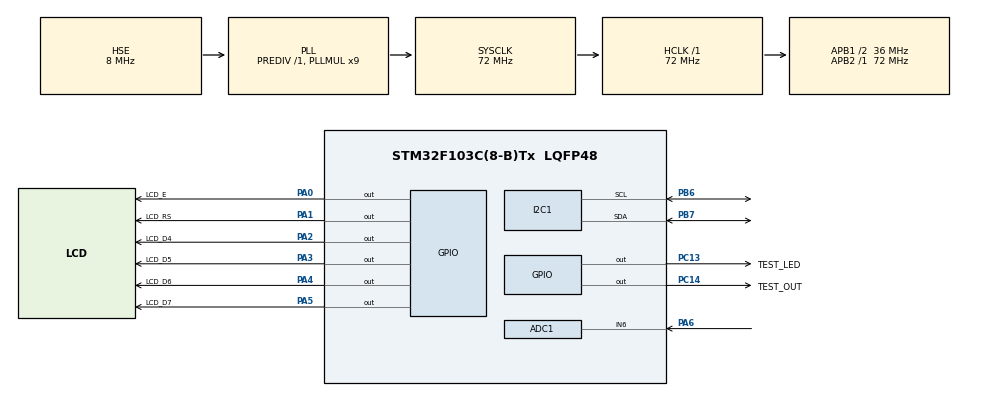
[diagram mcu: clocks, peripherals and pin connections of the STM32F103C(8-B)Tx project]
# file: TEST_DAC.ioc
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ADC1.Channel-1\#ChannelRegularConversion=ADC_CHANNEL_6
ADC1.NbrOfConversionFlag=1
ADC1.Rank-1\#ChannelRegularConversion=1
ADC1.SamplingTime-1\#ChannelRegularConversion=ADC_SAMPLETIME_1CYCLE_5
ADC1.master=1
Dma.I2C1_RX.1.Direction=DMA_PERIPH_TO_MEMORY
Dma.I2C1_RX.1.Instance=DMA1_Channel7
Dma.I2C1_RX.1.MemDataAlignment=DMA_MDATAALIGN_BYTE
Dma.I2C1_RX.1.MemInc=DMA_MINC_ENABLE
Dma.I2C1_RX.1.Mode=DMA_NORMAL
Dma.I2C1_RX.1.PeriphDataAlignment=DMA_PDATAALIGN_BYTE
Dma.I2C1_RX.1.PeriphInc=DMA_PINC_DISABLE
Dma.I2C1_RX.1.Priority=DMA_PRIORITY_LOW
Dma.I2C1_TX.0.Direction=DMA_MEMORY_TO_PERIPH
Dma.I2C1_TX.0.Instance=DMA1_Channel6
Dma.I2C1_TX.0.MemDataAlignment=DMA_MDATAALIGN_BYTE
Dma.I2C1_TX.0.MemInc=DMA_MINC_ENABLE
Dma.I2C1_TX.0.Mode=DMA_NORMAL
Dma.I2C1_TX.0.PeriphDataAlignment=DMA_PDATAALIGN_BYTE
Dma.I2C1_TX.0.PeriphInc=DMA_PINC_DISABLE
Dma.I2C1_TX.0.Priority=DMA_PRIORITY_LOW
Dma.Request0=I2C1_TX
Dma.Request1=I2C1_RX
FREERTOS.Tasks01=defaultTask,0,128,StartDefaultTask,Default,NULL,Dynamic,NULL,NULL;ButtonsTask,0,128,StartButtonsTask,Default,NULL,Dynamic,NULL,NULL
I2C1.I2C_Mode=I2C_Fast
Mcu.Family=STM32F1
Mcu.Name=STM32F103C(8-B)Tx
Mcu.Package=LQFP48
NVIC.ADC1_2_IRQn=true\:5\:0\:false\:false\:true\:true\:true\:true
NVIC.DMA1_Channel6_IRQn=true\:5\:0\:false\:false\:true\:true\:false\:true
NVIC.DMA1_Channel7_IRQn=true\:5\:0\:false\:false\:true\:true\:false\:true
NVIC.I2C1_EV_IRQn=true\:5\:0\:false\:false\:true\:true\:true\:true
NVIC.PriorityGroup=NVIC_PRIORITYGROUP_4
NVIC.TIM3_IRQn=true\:5\:0\:false\:false\:true\:true\:true\:true
NVIC.TIM4_IRQn=true\:0\:0\:false\:false\:true\:false\:false\:true
NVIC.TimeBase=TIM4_IRQn
NVIC.TimeBaseIP=TIM4
PA0-WKUP.GPIO_Label=LCD_E
PA0-WKUP.GPIO_ModeDefaultOutputPP=GPIO_MODE_OUTPUT_PP
PA0-WKUP.Signal=GPIO_Output
PA1.GPIO_Label=LCD_RS
PA1.Signal=GPIO_Output
PA13.Mode=Trace_Asynchronous_SW
PA13.Signal=SYS_JTMS-SWDIO
PA14.Mode=Trace_Asynchronous_SW
PA14.Signal=SYS_JTCK-SWCLK
PA2.GPIO_Label=LCD_D4
PA2.Signal=GPIO_Output
PA3.GPIO_Label=LCD_D5
PA3.Signal=GPIO_Output
PA4.GPIO_Label=LCD_D6
PA4.Signal=GPIO_Output
PA5.GPIO_Label=LCD_D7
PA5.Signal=GPIO_Output
PA6.Signal=ADCx_IN6
PB3.Mode=Trace_Asynchronous_SW
PB3.Signal=SYS_JTDO-TRACESWO
PB6.Mode=I2C
PB6.Signal=I2C1_SCL
PB7.Mode=I2C
PB7.Signal=I2C1_SDA
PC13-TAMPER-RTC.GPIO_Label=TEST_LED
PC13-TAMPER-RTC.Signal=GPIO_Output
PC14-OSC32_IN.GPIO_Label=TEST_OUT
PC14-OSC32_IN.GPIO_Speed=GPIO_SPEED_FREQ_HIGH
PC14-OSC32_IN.Signal=GPIO_Output
PD0-OSC_IN.Mode=HSE-External-Oscillator
PD0-OSC_IN.Signal=RCC_OSC_IN
PD1-OSC_OUT.Mode=HSE-External-Oscillator
PD1-OSC_OUT.Signal=RCC_OSC_OUT
ProjectManager.HeapSize=0x200
ProjectManager.StackSize=0x400
ProjectManager.TargetToolchain=MDK-ARM V5
RCC.ADCPresc=RCC_ADCPCLK2_DIV6
RCC.AHBFreq_Value=72000000
RCC.APB1CLKDivider=RCC_HCLK_DIV2
RCC.APB1Freq_Value=36000000
RCC.APB1TimFreq_Value=72000000
RCC.APB2Freq_Value=72000000
RCC.APB2TimFreq_Value=72000000
RCC.HCLKFreq_Value=72000000
RCC.PLLMUL=RCC_PLL_MUL9
RCC.PLLSourceVirtual=RCC_PLLSOURCE_HSE
RCC.SYSCLKFreq_VALUE=72000000
RCC.SYSCLKSource=RCC_SYSCLKSOURCE_PLLCLK
RCC.USBFreq_Value=72000000
SH.ADCx_IN6.0=ADC1_IN6,IN6
TIM3.Period=38
TIM3.Prescaler=71
VP_FREERTOS_VS_CMSIS_V1.Mode=CMSIS_V1
VP_SYS_VS_tim4.Mode=TIM4
VP_TIM3_VS_ClockSourceINT.Mode=Internal
board=custom

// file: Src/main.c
/* USER CODE BEGIN Header */
/**
  ******************************************************************************
  * @file           : main.c
  * @brief          : Main program body
  ******************************************************************************
  * @attention
  *
  * <h2><center>&copy; Copyright (c) 2019 STMicroelectronics.
  * All rights reserved.</center></h2>
  *
  * This software component is licensed by ST under Ultimate Liberty license
  * SLA0044, the "License"; You may not use this file except in compliance with
  * the License. You may obtain a copy of the License at:
  *                             www.st.com/SLA0044
  *
  ******************************************************************************
  */
/* USER CODE END Header */

#include "main.h"
#include "cmsis_os.h"

/* USER CODE BEGIN Includes */
#include "stdbool.h"
#include "hd44780.h"
/* USER CODE END Includes */

ADC_HandleTypeDef hadc1;

I2C_HandleTypeDef hi2c1;
DMA_HandleTypeDef hdma_i2c1_tx;
DMA_HandleTypeDef hdma_i2c1_rx;

TIM_HandleTypeDef htim3;

osThreadId defaultTaskHandle;
osThreadId ButtonsTaskHandle;

void SystemClock_Config(void);
static void MX_GPIO_Init(void);
static void MX_DMA_Init(void);
static void MX_I2C1_Init(void);
static void MX_TIM3_Init(void);
static void MX_ADC1_Init(void);
void StartDefaultTask(void const * argument);
void StartButtonsTask(void const * argument);

/* USER CODE BEGIN 0 */
extern const unsigned short int DACLookup_FullSine_7Bit[128];
unsigned char Sine1_Out[256], Sine2_Out[256], I2C_Send_Buf[2], UpDown = 0, ADC_nbr = 0;
char str[16];
unsigned short int DAC1_pos = 0, DAC2_pos = 0;
float Amplitude1 = 0, Amplitude2 = 0;
unsigned char cnt20ms = 0;
bool LCD_refresh = true, DAC_refresh = true;

const uint16_t cb_rep_spd_tab[4] = {15, 7, 4, 1};
unsigned char kbrd_code = 0;
unsigned char cb_rep_spd = 0;
unsigned short int cb_rep = 0, cb_rep_cnt = 0, cb1 = 0, cb2 = 0, cb3 = 0, cb4 = 0, cb5 = 0;

void HAL_I2C_MasterTxCpltCallback(I2C_HandleTypeDef *hi2c)
{
	__nop();
}
/* USER CODE END 0 */

int main(void)
{

  /* MCU Configuration--------------------------------------------------------*/

  /* Reset of all peripherals, Initializes the Flash interface and the Systick. */
  HAL_Init();

  /* Configure the system clock */
  SystemClock_Config();

  /* Initialize all configured peripherals */
  MX_GPIO_Init();
  MX_DMA_Init();
  MX_I2C1_Init();
  MX_TIM3_Init();
  MX_ADC1_Init();

  /* Create the thread(s) */
  /* definition and creation of defaultTask */
  osThreadDef(defaultTask, StartDefaultTask, osPriorityNormal, 0, 128);
  defaultTaskHandle = osThreadCreate(osThread(defaultTask), NULL);

  /* definition and creation of ButtonsTask */
  osThreadDef(ButtonsTask, StartButtonsTask, osPriorityNormal, 0, 128);
  ButtonsTaskHandle = osThreadCreate(osThread(ButtonsTask), NULL);

  /* Start scheduler */
  osKernelStart();

  /* We should never get here as control is now taken by the scheduler */

  /* Infinite loop */
  while (1)
  {

  }
}

void SystemClock_Config(void)
{
  RCC_OscInitTypeDef RCC_OscInitStruct = {0};
  RCC_ClkInitTypeDef RCC_ClkInitStruct = {0};
  RCC_PeriphCLKInitTypeDef PeriphClkInit = {0};

  /** Initializes the CPU, AHB and APB busses clocks
  */
  RCC_OscInitStruct.OscillatorType = RCC_OSCILLATORTYPE_HSE;
  RCC_OscInitStruct.HSEState = RCC_HSE_ON;
  RCC_OscInitStruct.HSEPredivValue = RCC_HSE_PREDIV_DIV1;
  RCC_OscInitStruct.HSIState = RCC_HSI_ON;
  RCC_OscInitStruct.PLL.PLLState = RCC_PLL_ON;
  RCC_OscInitStruct.PLL.PLLSource = RCC_PLLSOURCE_HSE;
  RCC_OscInitStruct.PLL.PLLMUL = RCC_PLL_MUL9;
  if (HAL_RCC_OscConfig(&RCC_OscInitStruct) != HAL_OK)
  {
    Error_Handler();
  }
  /** Initializes the CPU, AHB and APB busses clocks
  */
  RCC_ClkInitStruct.ClockType = RCC_CLOCKTYPE_HCLK|RCC_CLOCKTYPE_SYSCLK
                              |RCC_CLOCKTYPE_PCLK1|RCC_CLOCKTYPE_PCLK2;
  RCC_ClkInitStruct.SYSCLKSource = RCC_SYSCLKSOURCE_PLLCLK;
  RCC_ClkInitStruct.AHBCLKDivider = RCC_SYSCLK_DIV1;
  RCC_ClkInitStruct.APB1CLKDivider = RCC_HCLK_DIV2;
  RCC_ClkInitStruct.APB2CLKDivider = RCC_HCLK_DIV1;

  if (HAL_RCC_ClockConfig(&RCC_ClkInitStruct, FLASH_LATENCY_2) != HAL_OK)
  {
    Error_Handler();
  }
  PeriphClkInit.PeriphClockSelection = RCC_PERIPHCLK_ADC;
  PeriphClkInit.AdcClockSelection = RCC_ADCPCLK2_DIV6;
  if (HAL_RCCEx_PeriphCLKConfig(&PeriphClkInit) != HAL_OK)
  {
    Error_Handler();
  }
}

static void MX_ADC1_Init(void)
{

  ADC_ChannelConfTypeDef sConfig = {0};

  /** Common config
  */
  hadc1.Instance = ADC1;
  hadc1.Init.ScanConvMode = ADC_SCAN_DISABLE;
  hadc1.Init.ContinuousConvMode = DISABLE;
  hadc1.Init.DiscontinuousConvMode = DISABLE;
  hadc1.Init.ExternalTrigConv = ADC_SOFTWARE_START;
  hadc1.Init.DataAlign = ADC_DATAALIGN_RIGHT;
  hadc1.Init.NbrOfConversion = 1;
  if (HAL_ADC_Init(&hadc1) != HAL_OK)
  {
    Error_Handler();
  }
  /** Configure Regular Channel
  */
  sConfig.Channel = ADC_CHANNEL_6;
  sConfig.Rank = ADC_REGULAR_RANK_1;
  sConfig.SamplingTime = ADC_SAMPLETIME_1CYCLE_5;
  if (HAL_ADC_ConfigChannel(&hadc1, &sConfig) != HAL_OK)
  {
    Error_Handler();
  }

}

static void MX_I2C1_Init(void)
{

  hi2c1.Instance = I2C1;
  hi2c1.Init.ClockSpeed = 1000000;
  hi2c1.Init.DutyCycle = I2C_DUTYCYCLE_2;
  hi2c1.Init.OwnAddress1 = 0;
  hi2c1.Init.AddressingMode = I2C_ADDRESSINGMODE_7BIT;
  hi2c1.Init.DualAddressMode = I2C_DUALADDRESS_DISABLE;
  hi2c1.Init.OwnAddress2 = 0;
  hi2c1.Init.GeneralCallMode = I2C_GENERALCALL_DISABLE;
  hi2c1.Init.NoStretchMode = I2C_NOSTRETCH_DISABLE;
  if (HAL_I2C_Init(&hi2c1) != HAL_OK)
  {
    Error_Handler();
  }

}

static void MX_TIM3_Init(void)
{

  TIM_ClockConfigTypeDef sClockSourceConfig = {0};
  TIM_MasterConfigTypeDef sMasterConfig = {0};

  htim3.Instance = TIM3;
  htim3.Init.Prescaler = 71;
  htim3.Init.CounterMode = TIM_COUNTERMODE_UP;
  htim3.Init.Period = 77;
  htim3.Init.ClockDivision = TIM_CLOCKDIVISION_DIV1;
  htim3.Init.AutoReloadPreload = TIM_AUTORELOAD_PRELOAD_DISABLE;
  if (HAL_TIM_Base_Init(&htim3) != HAL_OK)
  {
    Error_Handler();
  }
  sClockSourceConfig.ClockSource = TIM_CLOCKSOURCE_INTERNAL;
  if (HAL_TIM_ConfigClockSource(&htim3, &sClockSourceConfig) != HAL_OK)
  {
    Error_Handler();
  }
  sMasterConfig.MasterOutputTrigger = TIM_TRGO_RESET;
  sMasterConfig.MasterSlaveMode = TIM_MASTERSLAVEMODE_DISABLE;
  if (HAL_TIMEx_MasterConfigSynchronization(&htim3, &sMasterConfig) != HAL_OK)
  {
    Error_Handler();
  }

}

static void MX_DMA_Init(void)
{
  /* DMA controller clock enable */
  __HAL_RCC_DMA1_CLK_ENABLE();

  /* DMA interrupt init */
  /* DMA1_Channel6_IRQn interrupt configuration */
  HAL_NVIC_SetPriority(DMA1_Channel6_IRQn, 5, 0);
  HAL_NVIC_EnableIRQ(DMA1_Channel6_IRQn);
  /* DMA1_Channel7_IRQn interrupt configuration */
  HAL_NVIC_SetPriority(DMA1_Channel7_IRQn, 5, 0);
  HAL_NVIC_EnableIRQ(DMA1_Channel7_IRQn);

}

static void MX_GPIO_Init(void)
{
  GPIO_InitTypeDef GPIO_InitStruct = {0};

  /* GPIO Ports Clock Enable */
  __HAL_RCC_GPIOC_CLK_ENABLE();
  __HAL_RCC_GPIOD_CLK_ENABLE();
  __HAL_RCC_GPIOA_CLK_ENABLE();
  __HAL_RCC_GPIOB_CLK_ENABLE();

  /*Configure GPIO pin Output Level */
  HAL_GPIO_WritePin(GPIOC, TEST_LED_Pin|TEST_OUT_Pin, GPIO_PIN_RESET);

  /*Configure GPIO pin Output Level */
  HAL_GPIO_WritePin(GPIOA, LCD_E_Pin|LCD_RS_Pin|LCD_D4_Pin|LCD_D5_Pin
                          |LCD_D6_Pin|LCD_D7_Pin, GPIO_PIN_RESET);

  /*Configure GPIO pin : TEST_LED_Pin */
  GPIO_InitStruct.Pin = TEST_LED_Pin;
  GPIO_InitStruct.Mode = GPIO_MODE_OUTPUT_PP;
  GPIO_InitStruct.Pull = GPIO_NOPULL;
  GPIO_InitStruct.Speed = GPIO_SPEED_FREQ_LOW;
  HAL_GPIO_Init(TEST_LED_GPIO_Port, &GPIO_InitStruct);

  /*Configure GPIO pin : TEST_OUT_Pin */
  GPIO_InitStruct.Pin = TEST_OUT_Pin;
  GPIO_InitStruct.Mode = GPIO_MODE_OUTPUT_PP;
  GPIO_InitStruct.Pull = GPIO_NOPULL;
  GPIO_InitStruct.Speed = GPIO_SPEED_FREQ_HIGH;
  HAL_GPIO_Init(TEST_OUT_GPIO_Port, &GPIO_InitStruct);

  /*Configure GPIO pins : LCD_E_Pin LCD_RS_Pin LCD_D4_Pin LCD_D5_Pin
                           LCD_D6_Pin LCD_D7_Pin */
  GPIO_InitStruct.Pin = LCD_E_Pin|LCD_RS_Pin|LCD_D4_Pin|LCD_D5_Pin
                          |LCD_D6_Pin|LCD_D7_Pin;
  GPIO_InitStruct.Mode = GPIO_MODE_OUTPUT_PP;
  GPIO_InitStruct.Pull = GPIO_NOPULL;
  GPIO_InitStruct.Speed = GPIO_SPEED_FREQ_LOW;
  HAL_GPIO_Init(GPIOA, &GPIO_InitStruct);

}

void StartDefaultTask(void const * argument)
{

  /* USER CODE BEGIN 5 */
/*
//	HAL_I2C_Mem_Read(&hi2c1, 0xA0, 0, I2C_MEMADD_SIZE_16BIT, I2C_Read_Buf, 32, 100);
	HAL_GPIO_WritePin(DEBUG_OUT_GPIO_Port, DEBUG_OUT_Pin, GPIO_PIN_SET);
	I2C_Send_Buf[0] = 0;
	I2C_Send_Buf[1] = 0;
	HAL_I2C_Master_Transmit(&hi2c1, 0xA0, I2C_Send_Buf, 2, 100);
	HAL_GPIO_WritePin(DEBUG_OUT_GPIO_Port, DEBUG_OUT_Pin, GPIO_PIN_RESET);
*/
  /* Infinite loop */
//	HAL_GPIO_WritePin(DEBUG_OUT_GPIO_Port, DEBUG_OUT_Pin, GPIO_PIN_RESET);
	HAL_TIM_Base_Start_IT(&htim3);
  for(;;)
  {
//    sprintf(str, "%04d",adc);
//    lcdGoto(LCD_1st_LINE,1);
//    lcdPuts(str);
//		HAL_I2C_Master_Transmit(&hi2c1, 0xC4, Sine_Out, 1024, 100);
//		HAL_I2C_Master_Transmit_DMA(&hi2c1, 0xC4, Sine_Out, 1024);
/*		I2C_Send_Buf[0] = 64;
		I2C_Send_Buf[1] = (unsigned char)(FullSine_9Bit[DAC_pos] / 16);
		I2C_Send_Buf[2] = (unsigned char)((FullSine_9Bit[DAC_pos] % 16) << 4);
		HAL_I2C_Master_Transmit_IT(&hi2c1,  0xC4, I2C_Send_Buf, 3);
*/
/*
		for(i = 0; i < 128; i++)
		{
			tmp = DACLookup_FullSine_7Bit[i] * Amplitude1;
			Sine1_Out[i*2] = (unsigned char)(tmp >> 8);
			Sine1_Out[(i*2)+1] = (unsigned char)tmp;
			tmp = DACLookup_FullSine_7Bit[i] * Amplitude2;
			Sine2_Out[i*2] = (unsigned char)(tmp >> 8);
			Sine2_Out[(i*2)+1] = (unsigned char)tmp;
		}
		osDelay(100);
		if(UpDown == 0)
		{
			Amplitude1 = Amplitude1 - 0.01;
			Amplitude2 = Amplitude2 - 0.01;
			if(Amplitude1 < 0.5)
			{
				UpDown = 1;
			}
		}
		else
		{
			Amplitude1 = Amplitude1 + 0.01;
			Amplitude2 = Amplitude2 + 0.01;
			if(Amplitude1 > 1)
			{
				Amplitude1 = 1;
				Amplitude2 = 1;
				UpDown = 0;
			}
		}
*/
osDelay(200);
//TM1638_Send();
/*
TM1638_Buttons();
osDelay(1000);
TM1638_LED_Buf[0] = 0xFF;
TM1638_Buttons();
osDelay(1000);
TM1638_LED_Buf[1] = 0xFF;
TM1638_Buttons();
osDelay(1000);
TM1638_LED_Buf[2] = 0xFF;
TM1638_Buttons();
osDelay(1000);
TM1638_LED_Buf[3] = 0xFF;
TM1638_Buttons();
osDelay(1000);
TM1638_LED_Buf[4] = 0xFF;
TM1638_Buttons();
osDelay(1000);
TM1638_LED_Buf[5] = 0xFF;
TM1638_Buttons();
osDelay(1000);
TM1638_LED_Buf[6] = 0xFF;
TM1638_Buttons();
osDelay(1000);
TM1638_LED_Buf[7] = 0xFF;
TM1638_Buttons();
osDelay(1000);
TM1638_LED_Buf[8] = 0xFF;
TM1638_Buttons();
osDelay(1000);
TM1638_LED_Buf[9] = 0xFF;
TM1638_Buttons();
osDelay(1000);
TM1638_LED_Buf[10] = 0xFF;
TM1638_Buttons();
osDelay(1000);
TM1638_LED_Buf[11] = 0xFF;
TM1638_Buttons();
osDelay(1000);
TM1638_LED_Buf[12] = 0xFF;
TM1638_Buttons();
osDelay(1000);
TM1638_LED_Buf[13] = 0xFF;
TM1638_Buttons();
osDelay(1000);
TM1638_LED_Buf[14] = 0xFF;
TM1638_Buttons();
osDelay(1000);
TM1638_LED_Buf[15] = 0xFF;
TM1638_Buttons();
osDelay(1000);
TM1638_LED_Buf[0] = 0x00;TM1638_LED_Buf[1] = 0x00;TM1638_LED_Buf[2] = 0x00;TM1638_LED_Buf[3] = 0x00;TM1638_LED_Buf[4] = 0x00;
TM1638_LED_Buf[5] = 0x00;TM1638_LED_Buf[6] = 0x00;TM1638_LED_Buf[7] = 0x00;TM1638_LED_Buf[8] = 0x00;TM1638_LED_Buf[9] = 0x00;
TM1638_LED_Buf[10] = 0x00;TM1638_LED_Buf[11] = 0x00;TM1638_LED_Buf[12] = 0x00;TM1638_LED_Buf[13] = 0x00;TM1638_LED_Buf[14] = 0x00;
TM1638_LED_Buf[15] = 0x00;
*/
  }
  /* USER CODE END 5 */
}

void StartButtonsTask(void const * argument)
{
  /* USER CODE BEGIN StartButtonsTask */
	unsigned short int adc, tmp;
	unsigned char key, i;

	lcdInit();
	lcdClrScr();
  lcdGoto(LCD_1st_LINE,1);
  /* Infinite loop */
  for(;;)
  {
		HAL_ADC_Start(&hadc1);
		HAL_ADC_PollForConversion(&hadc1, 100);
    adc = (unsigned short int)HAL_ADC_GetValue(&hadc1);
		if(adc > 3400)
		{
			key = 0;
		}
		else
		{
			if(adc > 2300)
			{
				key = 1;
			}
			else
			{
				if(adc > 1435)
				{
					key = 2;
				}
				else
				{
					if(adc > 690)
					{
						key = 3;
					}
					else
					{
						if(adc > 157)
						{
							key = 4;
						}
						else
						{
							key = 5;
						}
					}
				}
			}
		}
		if(key == 1)
		{
			if(cb1 != 3)
			{
				cb1++;
				if(cb1 == 3)
				{
					kbrd_code = 1;
					cb_rep = 0;
					cb_rep_spd = 0;
					cb_rep_cnt = 0;
				}
			}
			else
			{
				cb_rep++;
				if(cb_rep >= cb_rep_spd_tab[cb_rep_spd])
				{
					kbrd_code = 1;
					cb_rep = 0;
				}
			}
		}
		else
		{
			cb1 = 0;
		}
		if(key == 2)
		{
			if(cb2 != 3)
			{
				cb2++;
				if(cb2 == 3)
				{
					kbrd_code = 2;
					cb_rep = 0;
					cb_rep_spd = 0;
					cb_rep_cnt = 0;
				}
			}
			else
			{
				cb_rep++;
				if(cb_rep >= cb_rep_spd_tab[cb_rep_spd])
				{
					kbrd_code = 2;
					cb_rep = 0;
				}
			}
		}
		else
		{
			cb2 = 0;
		}
		if(key == 3)
		{
			if(cb3 != 3)
			{
				cb3++;
				if(cb3 == 3)
				{
					kbrd_code = 3;
					cb_rep = 0;
					cb_rep_spd = 0;
					cb_rep_cnt = 0;
				}
			}
			else
			{
				cb_rep++;
				if(cb_rep >= cb_rep_spd_tab[cb_rep_spd])
				{
					kbrd_code = 3;
					cb_rep = 0;
				}
			}
		}
		else
		{
			cb3 = 0;
		}
		if(key == 4)
		{
			if(cb4 != 3)
			{
				cb4++;
				if(cb4 == 3)
				{
					kbrd_code = 4;
					cb_rep = 0;
					cb_rep_spd = 0;
					cb_rep_cnt = 0;
				}
			}
			else
			{
				cb_rep++;
				if(cb_rep >= cb_rep_spd_tab[cb_rep_spd])
				{
					kbrd_code = 4;
					cb_rep = 0;
				}
			}
		}
		else
		{
			cb4 = 0;
		}
		if(key == 5)
		{
			if(cb5 != 3)
			{
				cb5++;
				if(cb5 == 3)
				{
					kbrd_code = 5;
					cb_rep = 0;
					cb_rep_spd = 0;
					cb_rep_cnt = 0;
				}
			}
			else
			{
				cb_rep++;
				if(cb_rep >= cb_rep_spd_tab[cb_rep_spd])
				{
					kbrd_code = 5;
					cb_rep = 0;
				}
			}
		}
		else
		{
			cb5 = 0;
		}
		if(cb_rep != 0)
		{
			if(cb_rep_cnt != 200)
			{
				cb_rep_cnt++;
				if(cb_rep_cnt == 50)
				{
					cb_rep_spd = 1;
				}
				if(cb_rep_cnt == 100)
				{
					cb_rep_spd = 2;
				}
				if(cb_rep_cnt == 200)
				{
					cb_rep_spd = 3;
				}
			}
		}
		switch(kbrd_code)
		{
			case 1:
			{
				kbrd_code = 0;
				break;
			}
			case 2:
			{
				kbrd_code = 0;
				if((Amplitude1 - 0.001) > 0)
				{
					Amplitude1 = Amplitude1 - 0.001;
					LCD_refresh = true;
					DAC_refresh = true;
				}
				else
				{
					Amplitude1 = 0;
					LCD_refresh = true;
					DAC_refresh = true;
				}
				break;
			}
			case 3:
			{
				kbrd_code = 0;
				if((Amplitude2 - 0.0015) > 0)
				{
					Amplitude2 = Amplitude2 - 0.0015;
					LCD_refresh = true;
					DAC_refresh = true;
				}
				else
				{
					Amplitude2 = 0;
					LCD_refresh = true;
					DAC_refresh = true;
				}
				break;
			}
			case 4:
			{
				kbrd_code = 0;
				if(Amplitude2 < 0.45)
				{
					Amplitude2 = Amplitude2 + 0.0015;
					LCD_refresh = true;
					DAC_refresh = true;
				}
				break;
			}
			case 5:
			{
				kbrd_code = 0;
				if(Amplitude1 < 0.03)
				{
					Amplitude1 = Amplitude1 + 0.001;
					LCD_refresh = true;
					DAC_refresh = true;
				}
				break;
			}
		}
		if(LCD_refresh)
		{
			LCD_refresh = false;
			sprintf(str, "%03u", (unsigned short int)(Amplitude1 * 1000));
			lcdGoto(LCD_1st_LINE,1);
			lcdPuts(str);
			sprintf(str, "%03u", (unsigned short int)(Amplitude2 * 666.5));
			lcdGoto(LCD_2nd_LINE,1);
			lcdPuts(str);
		}
		if(DAC_refresh)
		{
			DAC_refresh = false;
			for(i = 0; i < 128; i++)
			{
				tmp = DACLookup_FullSine_7Bit[i] * Amplitude1;
				Sine1_Out[i*2] = (unsigned char)(tmp >> 8);
				Sine1_Out[(i*2)+1] = (unsigned char)tmp;
				tmp = DACLookup_FullSine_7Bit[i] * Amplitude2;
				Sine2_Out[i*2] = (unsigned char)(tmp >> 8);
				Sine2_Out[(i*2)+1] = (unsigned char)tmp;
			}
		}
		osDelay(20);
  }
  /* USER CODE END StartButtonsTask */
}

void HAL_TIM_PeriodElapsedCallback(TIM_HandleTypeDef *htim)
{
  /* USER CODE BEGIN Callback 0 */
  if(htim->Instance == TIM3)
	{
		HAL_GPIO_TogglePin(TEST_OUT_GPIO_Port, TEST_OUT_Pin);
		if(ADC_nbr == 0)
		{
			I2C_Send_Buf[0] = Sine1_Out[DAC1_pos];
			DAC1_pos++;
			I2C_Send_Buf[1] = Sine1_Out[DAC1_pos];
			DAC1_pos++;
			HAL_I2C_Master_Transmit_DMA(&hi2c1,  0xC2, I2C_Send_Buf, 2);
			if(DAC1_pos == 256)
			{
				DAC1_pos = 0;
			}
			ADC_nbr = 1;
		}
		else
		{
			I2C_Send_Buf[0] = Sine2_Out[DAC2_pos];
			DAC2_pos++;
			I2C_Send_Buf[1] = Sine2_Out[DAC2_pos];
			DAC2_pos++;
			HAL_I2C_Master_Transmit_DMA(&hi2c1,  0xC4, I2C_Send_Buf, 2);
			if(DAC2_pos == 256)
			{
				DAC2_pos = 0;
			}
			ADC_nbr = 0;
		}
	}
  if(htim->Instance == TIM4)
	{
		cnt20ms++;
		if(cnt20ms == 20)
		{
			cnt20ms = 0;
		}
	}
  /* USER CODE END Callback 0 */
  if (htim->Instance == TIM4) {
    HAL_IncTick();
  }
}

void Error_Handler(void)
{
}

/************************ (C) COPYRIGHT STMicroelectronics *****END OF FILE****/
